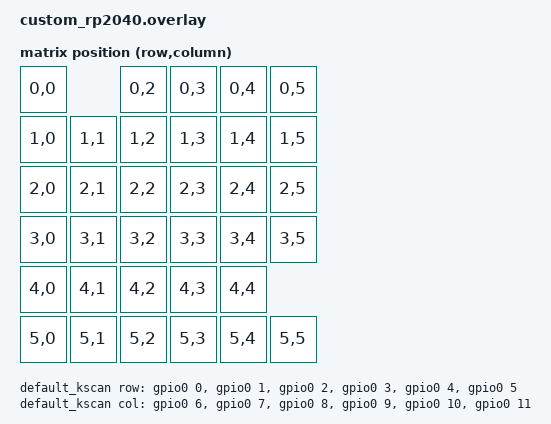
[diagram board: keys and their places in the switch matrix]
#include <dt-bindings/zmk/matrix_transform.h>

/ {
    chosen {
        zmk,kscan = &default_kscan;
        zmk,matrix_transform = &default_transform;
    };

    default_kscan: kscan {
        compatible = "zmk,kscan-gpio-matrix";
        label = "default_kscan";
        diode-direction = "row2col";

        row-gpios = <&gpio0 0 GPIO_ACTIVE_HIGH>,
                    <&gpio0 1 GPIO_ACTIVE_HIGH>,
                    <&gpio0 2 GPIO_ACTIVE_HIGH>,
                    <&gpio0 3 GPIO_ACTIVE_HIGH>,
                    <&gpio0 4 GPIO_ACTIVE_HIGH>,
                    <&gpio0 5 GPIO_ACTIVE_HIGH>;

        col-gpios = <&gpio0 6 (GPIO_ACTIVE_HIGH | GPIO_PULL_DOWN)>,
                    <&gpio0 7 (GPIO_ACTIVE_HIGH | GPIO_PULL_DOWN)>,
                    <&gpio0 8 (GPIO_ACTIVE_HIGH | GPIO_PULL_DOWN)>,
                    <&gpio0 9 (GPIO_ACTIVE_HIGH | GPIO_PULL_DOWN)>,
                    <&gpio0 10 (GPIO_ACTIVE_HIGH | GPIO_PULL_DOWN)>,
                    <&gpio0 11 (GPIO_ACTIVE_HIGH | GPIO_PULL_DOWN)>;
    };

    default_transform: matrix_transform {
        compatible = "zmk,matrix-transform";
        rows = <6>;
        columns = <6>;

        map = <
            RC(0,0)           RC(0,2)  RC(0,3)  RC(0,4)  RC(0,5) 
            RC(1,0)  RC(1,1)  RC(1,2)  RC(1,3)  RC(1,4)  RC(1,5) 
            RC(2,0)  RC(2,1)  RC(2,2)  RC(2,3)  RC(2,4)  RC(2,5) 
            RC(3,0)  RC(3,1)  RC(3,2)  RC(3,3)  RC(3,4)  RC(3,5) 
            RC(4,0)  RC(4,1)  RC(4,2)  RC(4,3)  RC(4,4)
            RC(5,0)  RC(5,1)  RC(5,2)  RC(5,3)  RC(5,4)  RC(5,5) 
        >;
    };
};
